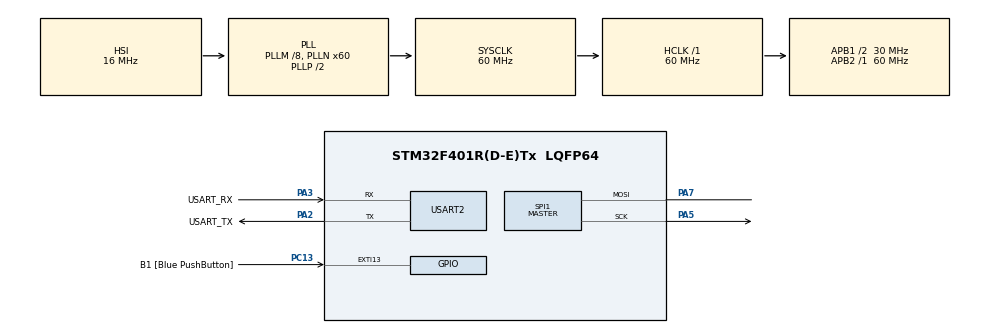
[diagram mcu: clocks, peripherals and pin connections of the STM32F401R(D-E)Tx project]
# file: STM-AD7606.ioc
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Mcu.Family=STM32F4
Mcu.Name=STM32F401R(D-E)Tx
Mcu.Package=LQFP64
NVIC.PriorityGroup=NVIC_PRIORITYGROUP_0
PA13.GPIO_Label=TMS
PA13.Mode=Serial_Wire
PA13.Signal=SYS_JTMS-SWDIO
PA14.GPIO_Label=TCK
PA14.Mode=Serial_Wire
PA14.Signal=SYS_JTCK-SWCLK
PA2.GPIO_Label=USART_TX
PA2.GPIO_Mode=GPIO_MODE_AF_PP
PA2.GPIO_PuPd=GPIO_NOPULL
PA2.GPIO_Speed=GPIO_SPEED_FREQ_LOW
PA2.Mode=Asynchronous
PA2.Signal=USART2_TX
PA3.GPIO_Label=USART_RX
PA3.GPIO_Mode=GPIO_MODE_AF_PP
PA3.GPIO_PuPd=GPIO_NOPULL
PA3.GPIO_Speed=GPIO_SPEED_FREQ_LOW
PA3.Mode=Asynchronous
PA3.Signal=USART2_RX
PA5.Mode=Simplex_Bidirectional_Master
PA5.Signal=SPI1_SCK
PA7.Mode=Simplex_Bidirectional_Master
PA7.Signal=SPI1_MOSI
PB3.GPIO_Label=SWO
PB3.Signal=SYS_JTDO-SWO
PC13-ANTI_TAMP.GPIO_Label=B1 [Blue PushButton]
PC13-ANTI_TAMP.GPIO_ModeDefaultEXTI=GPIO_MODE_IT_FALLING
PC13-ANTI_TAMP.GPIO_PuPd=GPIO_NOPULL
PC13-ANTI_TAMP.Signal=GPXTI13
PC14-OSC32_IN.Mode=LSE-External-Oscillator
PC14-OSC32_IN.Signal=RCC_OSC32_IN
PC15-OSC32_OUT.Mode=LSE-External-Oscillator
PC15-OSC32_OUT.Signal=RCC_OSC32_OUT
PH0\ -\ OSC_IN.Mode=HSE-External-Clock-Source
PH0\ -\ OSC_IN.Signal=RCC_OSC_IN
PH1\ -\ OSC_OUT.Mode=HSE-External-Clock-Source
PH1\ -\ OSC_OUT.Signal=RCC_OSC_OUT
ProjectManager.HeapSize=0x200
ProjectManager.StackSize=0x400
ProjectManager.TargetToolchain=STM32CubeIDE
RCC.48MHZClocksFreq_Value=17142857.14285714
RCC.AHBFreq_Value=60000000
RCC.APB1CLKDivider=RCC_HCLK_DIV2
RCC.APB1Freq_Value=30000000
RCC.APB1TimFreq_Value=60000000
RCC.APB2Freq_Value=60000000
RCC.APB2TimFreq_Value=60000000
RCC.CortexFreq_Value=60000000
RCC.HCLKFreq_Value=60000000
RCC.HSE_VALUE=8000000
RCC.HSI_VALUE=16000000
RCC.PLLM=8
RCC.PLLN=60
RCC.PLLQ=7
RCC.SYSCLKFreq_VALUE=60000000
RCC.SYSCLKSource=RCC_SYSCLKSOURCE_PLLCLK
RCC.VCOOutputFreq_Value=120000000
SPI1.DataSize=SPI_DATASIZE_16BIT
SPI1.Direction=SPI_DIRECTION_1LINE
SPI1.Mode=SPI_MODE_MASTER
SPI1.VirtualType=VM_MASTER
USART2.VirtualMode=VM_ASYNC
VP_TIM10_VS_ClockSourceINT.Mode=Enable_Timer
board=NUCLEO-F401RE

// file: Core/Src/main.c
/* USER CODE BEGIN Header */
/**
  ******************************************************************************
  * @file           : main.c
  * @brief          : Main program body
  ******************************************************************************
  * @attention
  *
  * Copyright (c) 2024 STMicroelectronics.
  * All rights reserved.
  *
  * This software is licensed under terms that can be found in the LICENSE file
  * in the root directory of this software component.
  * If no LICENSE file comes with this software, it is provided AS-IS.
  *
  ******************************************************************************
  */
/* USER CODE END Header */
#include "main.h"
#include "ad7606.h"
#include "no_os_timer.h"
#include "no_os_delay.h"
#include <stdint.h>
#include <stdio.h>
#include <stdlib.h>

SPI_HandleTypeDef hspi1;

TIM_HandleTypeDef htim10;

UART_HandleTypeDef huart2;

void SystemClock_Config(void);
static void MX_GPIO_Init(void);
static void MX_USART2_UART_Init(void);
static void MX_SPI1_Init(void);
static void MX_TIM10_Init(void);

int main(void)
{

  /* MCU Configuration--------------------------------------------------------*/

  /* Reset of all peripherals, Initializes the Flash interface and the Systick. */
  HAL_Init();

  /* USER CODE BEGIN Init */
  // Initialize the AD7606 device and set up any required configurations.
  struct ad7606_dev *my_ad7606;
  struct ad7606_init_param init_param;
  int32_t ret = ad7606_init(&my_ad7606, &init_param);
  if (ret < 0) {
	  printf("Error initializing AD7606: %d\n", ret);
      return ret;
  } else {
	  printf("Device initialized successfully");
  }

  /* USER CODE END Init */

  /* Configure the system clock */
  SystemClock_Config();

  /* Initialize all configured peripherals */
  MX_GPIO_Init();
  MX_USART2_UART_Init();
  MX_SPI1_Init();
  MX_TIM10_Init();

  /* Infinite loop */
  /* USER CODE BEGIN WHILE */
  uint32_t data[8]; //number of channels
  while (1)
  {
	  // Read data from AD7606
	  ret = ad7606_read(my_ad7606, data);
	  if (ret < 0) {
		  printf("Failed to read data from AD7606\n");
	  } else {
	      // Process the data
	      for (int i = 0; i < 8; i++) {  //8= num channels
	          printf("Channel %d: %d\n", i, data[i]);
	      }
	  }
	  // Delay between reads if needed
	  no_os_mdelay(3000); // For example, a 3-second delay

    /* USER CODE END WHILE */

    /* USER CODE BEGIN 3 */
  }
  // Clean up
  ad7606_remove(my_ad7606);
  /* USER CODE END 3 */
}

void SystemClock_Config(void)
{
  RCC_OscInitTypeDef RCC_OscInitStruct = {0};
  RCC_ClkInitTypeDef RCC_ClkInitStruct = {0};

  /** Configure the main internal regulator output voltage
  */
  __HAL_RCC_PWR_CLK_ENABLE();
  __HAL_PWR_VOLTAGESCALING_CONFIG(PWR_REGULATOR_VOLTAGE_SCALE2);

  /** Initializes the RCC Oscillators according to the specified parameters
  * in the RCC_OscInitTypeDef structure.
  */
  RCC_OscInitStruct.OscillatorType = RCC_OSCILLATORTYPE_HSI;
  RCC_OscInitStruct.HSIState = RCC_HSI_ON;
  RCC_OscInitStruct.HSICalibrationValue = RCC_HSICALIBRATION_DEFAULT;
  RCC_OscInitStruct.PLL.PLLState = RCC_PLL_ON;
  RCC_OscInitStruct.PLL.PLLSource = RCC_PLLSOURCE_HSI;
  RCC_OscInitStruct.PLL.PLLM = 8;
  RCC_OscInitStruct.PLL.PLLN = 60;
  RCC_OscInitStruct.PLL.PLLP = RCC_PLLP_DIV2;
  RCC_OscInitStruct.PLL.PLLQ = 7;
  if (HAL_RCC_OscConfig(&RCC_OscInitStruct) != HAL_OK)
  {
    Error_Handler();
  }

  /** Initializes the CPU, AHB and APB buses clocks
  */
  RCC_ClkInitStruct.ClockType = RCC_CLOCKTYPE_HCLK|RCC_CLOCKTYPE_SYSCLK
                              |RCC_CLOCKTYPE_PCLK1|RCC_CLOCKTYPE_PCLK2;
  RCC_ClkInitStruct.SYSCLKSource = RCC_SYSCLKSOURCE_PLLCLK;
  RCC_ClkInitStruct.AHBCLKDivider = RCC_SYSCLK_DIV1;
  RCC_ClkInitStruct.APB1CLKDivider = RCC_HCLK_DIV2;
  RCC_ClkInitStruct.APB2CLKDivider = RCC_HCLK_DIV1;

  if (HAL_RCC_ClockConfig(&RCC_ClkInitStruct, FLASH_LATENCY_1) != HAL_OK)
  {
    Error_Handler();
  }
}

static void MX_SPI1_Init(void)
{

  /* SPI1 parameter configuration*/
  hspi1.Instance = SPI1;
  hspi1.Init.Mode = SPI_MODE_MASTER;
  hspi1.Init.Direction = SPI_DIRECTION_1LINE;
  hspi1.Init.DataSize = SPI_DATASIZE_16BIT;
  hspi1.Init.CLKPolarity = SPI_POLARITY_LOW;
  hspi1.Init.CLKPhase = SPI_PHASE_1EDGE;
  hspi1.Init.NSS = SPI_NSS_SOFT;
  hspi1.Init.BaudRatePrescaler = SPI_BAUDRATEPRESCALER_2;
  hspi1.Init.FirstBit = SPI_FIRSTBIT_MSB;
  hspi1.Init.TIMode = SPI_TIMODE_DISABLE;
  hspi1.Init.CRCCalculation = SPI_CRCCALCULATION_DISABLE;
  hspi1.Init.CRCPolynomial = 10;
  if (HAL_SPI_Init(&hspi1) != HAL_OK)
  {
    Error_Handler();
  }

}

static void MX_TIM10_Init(void)
{

  htim10.Instance = TIM10;
  htim10.Init.Prescaler = 0;
  htim10.Init.CounterMode = TIM_COUNTERMODE_UP;
  htim10.Init.Period = 65535;
  htim10.Init.ClockDivision = TIM_CLOCKDIVISION_DIV1;
  htim10.Init.AutoReloadPreload = TIM_AUTORELOAD_PRELOAD_DISABLE;
  if (HAL_TIM_Base_Init(&htim10) != HAL_OK)
  {
    Error_Handler();
  }

}

static void MX_USART2_UART_Init(void)
{

  huart2.Instance = USART2;
  huart2.Init.BaudRate = 115200;
  huart2.Init.WordLength = UART_WORDLENGTH_8B;
  huart2.Init.StopBits = UART_STOPBITS_1;
  huart2.Init.Parity = UART_PARITY_NONE;
  huart2.Init.Mode = UART_MODE_TX_RX;
  huart2.Init.HwFlowCtl = UART_HWCONTROL_NONE;
  huart2.Init.OverSampling = UART_OVERSAMPLING_16;
  if (HAL_UART_Init(&huart2) != HAL_OK)
  {
    Error_Handler();
  }

}

static void MX_GPIO_Init(void)
{
  GPIO_InitTypeDef GPIO_InitStruct = {0};

  /* GPIO Ports Clock Enable */
  __HAL_RCC_GPIOC_CLK_ENABLE();
  __HAL_RCC_GPIOH_CLK_ENABLE();
  __HAL_RCC_GPIOA_CLK_ENABLE();
  __HAL_RCC_GPIOB_CLK_ENABLE();

  /*Configure GPIO pin : B1_Pin */
  GPIO_InitStruct.Pin = B1_Pin;
  GPIO_InitStruct.Mode = GPIO_MODE_IT_FALLING;
  GPIO_InitStruct.Pull = GPIO_NOPULL;
  HAL_GPIO_Init(B1_GPIO_Port, &GPIO_InitStruct);

}

void Error_Handler(void)
{
  __disable_irq();
  while (1)
  {
  }
}
